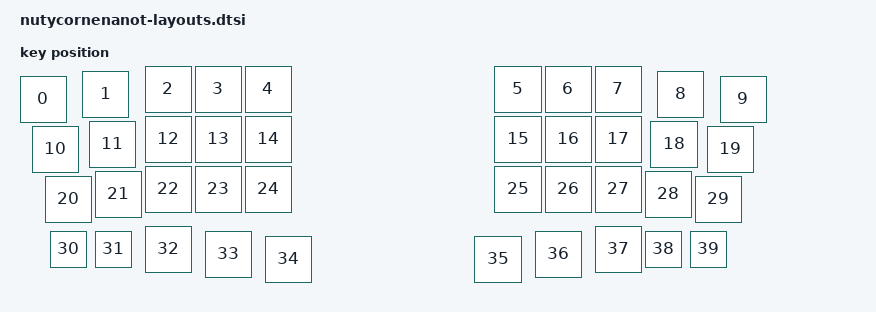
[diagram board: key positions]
#include <physical_layouts.dtsi>

/ {
    physical_layout0: physical_layout_0 {
        compatible = "zmk,physical-layout";
        display-name = "NutyCorneNanoT" ;

        keys  //                     w   h    x    y     rot    rx    ry
            = 
              <&key_physical_attrs 100 100  50     20       0     0     0>
            , <&key_physical_attrs 100 100  175    10       0     0     0>
            , <&key_physical_attrs 100 100  300    0       0     0     0>
            , <&key_physical_attrs 100 100  400    0       0     0     0>
            , <&key_physical_attrs 100 100  500    0       0     0     0>
            , <&key_physical_attrs 100 100  1000   0       0     0     0>
            , <&key_physical_attrs 100 100  1100   0       0     0     0>
            , <&key_physical_attrs 100 100  1200   0       0     0     0>
            , <&key_physical_attrs 100 100  1325   10       0     0     0>
            , <&key_physical_attrs 100 100  1450   20       0     0     0>

            , <&key_physical_attrs 100 100  75     120       0     0     0>
            , <&key_physical_attrs 100 100  188    110       0     0     0>
            , <&key_physical_attrs 100 100  300    100       0     0     0>
            , <&key_physical_attrs 100 100  400    100       0     0     0>
            , <&key_physical_attrs 100 100  500    100       0     0     0>
            , <&key_physical_attrs 100 100  1000   100       0     0     0>
            , <&key_physical_attrs 100 100  1100   100       0     0     0>
            , <&key_physical_attrs 100 100  1200   100       0     0     0>
            , <&key_physical_attrs 100 100  1312   110       0     0     0>
            , <&key_physical_attrs 100 100  1425   120       0     0     0>


            , <&key_physical_attrs 100 100  100    220       0     0     0>
            , <&key_physical_attrs 100 100  200    210       0     0     0>
            , <&key_physical_attrs 100 100  300    200       0     0     0>
            , <&key_physical_attrs 100 100  400    200       0     0     0>
            , <&key_physical_attrs 100 100  500    200       0     0     0>
            , <&key_physical_attrs 100 100  1000   200       0     0     0>
            , <&key_physical_attrs 100 100  1100   200       0     0     0>
            , <&key_physical_attrs 100 100  1200   200       0     0     0>
            , <&key_physical_attrs 100 100  1300   210       0     0     0>
            , <&key_physical_attrs 100 100  1400   220       0     0     0>


            , <&key_physical_attrs 80 80  110    330       0         0     0>
            , <&key_physical_attrs 80 80  200    330       0         0     0>

            , <&key_physical_attrs 100 100  300    320       0         0     0>
            , <&key_physical_attrs 100 100  420    330       0         0     0>
            , <&key_physical_attrs 100 100  540    340       0         0     0>

            , <&key_physical_attrs 100 100  960    340       0         0     0>
            , <&key_physical_attrs 100 100  1080   330       0         0     0>
            , <&key_physical_attrs 100 100  1200   320       0         0     0>

            , <&key_physical_attrs 80 80  1300    330       0         0     0>
            , <&key_physical_attrs 80 80  1390    330       0         0     0>

            ;
    };



};
